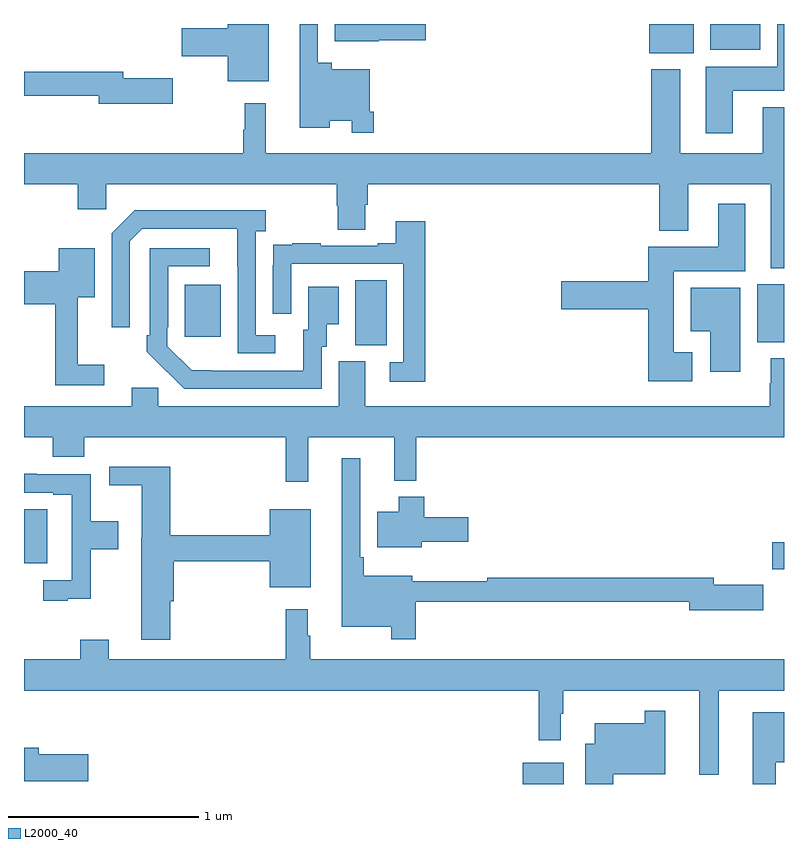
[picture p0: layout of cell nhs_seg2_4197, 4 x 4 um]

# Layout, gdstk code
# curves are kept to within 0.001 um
import gdstk
lib = gdstk.Library(unit=1e-6, precision=1e-09)
def R(c, l, rs):  # rectangles x0, y0, x1, y1
    for r in rs: c.add(gdstk.rectangle(r[:2], r[2:], *l))
def P(c, l, *ps):  # polygons
    for p in ps: c.add(gdstk.Polygon(p, *l))
L2000_40 = (2000, 40)

nhs_seg2_4197 = lib.new_cell('nhs_seg2_4197')
R(nhs_seg2_4197, L2000_40, [(339.626,657.8,339.841,657.913), (340.938,658.93,341,659.072), (337,658.961,337.123,659.245), (338.744,660.109,338.908,660.452), (340.859,660.125,341,660.43), (337.847,660.153,338.035,660.427), (340.292,661.646,340.525,661.8), (340.613,661.664,340.876,661.8)])
P(nhs_seg2_4197, L2000_40, [(338.84,661.339),(338.82,661.339),(338.82,661.561),(338.621,661.561),(338.621,661.597),(338.547,661.597),(338.547,661.8),(338.45,661.8),(338.45,661.253),(338.608,661.253),(338.608,661.292),(338.724,661.292),(338.724,661.227),(338.84,661.227)],
  [(340.729,661.448),(341,661.448),(341,661.8),(340.964,661.8),(340.964,661.576),(340.589,661.576),(340.589,661.224),(340.729,661.224)],
  [(338.868,661.715),(339.115,661.715),(339.115,661.8),(338.636,661.8),(338.636,661.709),(338.868,661.709)],
  [(338.287,661.8),(338.072,661.8),(338.072,661.778),(337.83,661.778),(337.83,661.631),(338.072,661.631),(338.072,661.499),(338.287,661.499)],
  [(341,661.363),(340.889,661.363),(340.889,661.12),(340.453,661.12),(340.453,661.561),(340.301,661.561),(340.301,661.12),(338.272,661.12),(338.272,661.384),(338.163,661.384),(338.163,661.244),(338.155,661.244),(338.155,661.12),(337,661.12),(337,660.956),(337.283,660.956),(337.283,660.825),(337.434,660.825),(337.434,660.956),(338.645,660.956),(338.645,660.843),(338.65,660.843),(338.65,660.718),(338.797,660.718),(338.797,660.85),(338.81,660.85),(338.81,660.956),(340.343,660.956),(340.343,660.713),(340.495,660.713),(340.495,660.956),(340.931,660.956),(340.931,660.515),(341,660.515)],
  [(337.783,661.514),(337.522,661.514),(337.522,661.55),(337,661.55),(337,661.422),(337.394,661.422),(337.394,661.379),(337.783,661.379)],
  [(340.516,660.073),(340.42,660.073),(340.42,660.5),(340.795,660.5),(340.795,660.853),(340.655,660.853),(340.655,660.628),(340.286,660.628),(340.286,660.446),(339.828,660.446),(339.828,660.299),(340.286,660.299),(340.286,659.921),(340.516,659.921)],
  [(338.323,660.162),(338.22,660.162),(338.22,660.71),(338.272,660.71),(338.272,660.82),(337.582,660.82),(337.461,660.699),(337.461,660.204),(337.557,660.204),(337.557,660.657),(337.623,660.723),(338.123,660.723),(338.124,660.066),(338.323,660.066)],
  [(339.113,660.763),(338.957,660.763),(338.957,660.646),(338.861,660.646),(338.861,660.633),(338.561,660.633),(338.561,660.646),(338.413,660.646),(338.413,660.639),(338.311,660.639),(338.311,660.53),(338.31,660.53),(338.31,660.276),(338.406,660.276),(338.406,660.537),(338.997,660.537),(338.997,660.021),(338.925,660.021),(338.925,659.916),(339.113,659.916)],
  [(338.568,660.102),(338.593,660.102),(338.593,660.221),(338.656,660.221),(338.656,660.418),(338.495,660.418),(338.495,660.192),(338.471,660.192),(338.471,659.976),(337.884,659.977),(337.755,660.105),(337.755,660.205),(337.758,660.205),(337.758,660.525),(337.978,660.525),(337.978,660.621),(337.662,660.621),(337.662,660.163),(337.647,660.163),(337.647,660.075),(337.844,659.88),(338.568,659.88)],
  [(337.423,660.007),(337.283,660.007),(337.283,660.362),(337.372,660.362),(337.372,660.619),(337.184,660.619),(337.184,660.498),(337,660.498),(337,660.326),(337.165,660.326),(337.165,659.898),(337.423,659.898)],
  [(340.771,660.412),(340.508,660.412),(340.508,660.182),(340.613,660.182),(340.613,659.97),(340.771,659.97)],
  [(338.495,659.624),(338.948,659.624),(338.948,659.396),(339.065,659.396),(339.065,659.624),(341,659.624),(341,660.04),(340.931,660.04),(340.931,659.909),(340.924,659.909),(340.924,659.788),(338.797,659.788),(338.797,660.024),(338.657,660.024),(338.657,659.788),(337.707,659.788),(337.707,659.886),(337.568,659.886),(337.568,659.788),(337,659.788),(337,659.624),(337.151,659.624),(337.151,659.522),(337.316,659.522),(337.316,659.624),(338.377,659.624),(338.377,659.391),(338.495,659.391)],
  [(339.062,658.758),(340.502,658.758),(340.502,658.715),(340.891,658.715),(340.891,658.85),(340.63,658.85),(340.63,658.886),(339.439,658.886),(339.439,658.868),(339.043,658.868),(339.043,658.897),(338.789,658.897),(338.789,658.993),(338.769,658.993),(338.769,659.515),(338.672,659.515),(338.672,658.628),(338.934,658.628),(338.934,658.563),(339.062,658.563)],
  [(337.769,658.761),(337.787,658.761),(337.787,658.972),(338.294,658.972),(338.294,658.835),(338.509,658.835),(338.509,659.245),(338.294,659.245),(338.294,659.108),(337.769,659.108),(337.769,659.47),(337.449,659.47),(337.449,659.372),(337.619,659.372),(337.619,659.097),(337.616,659.097),(337.616,658.56),(337.769,658.56)],
  [(337.229,658.775),(337.352,658.775),(337.352,659.035),(337.495,659.035),(337.495,659.182),(337.352,659.182),(337.352,659.43),(337.067,659.43),(337.067,659.432),(337,659.432),(337,659.334),(337.154,659.334),(337.154,659.322),(337.251,659.322),(337.251,658.872),(337.101,658.872),(337.101,658.764),(337.229,658.764)],
  [(339.094,659.075),(339.337,659.075),(339.337,659.205),(339.107,659.205),(339.107,659.311),(338.972,659.311),(338.972,659.233),(338.858,659.233),(338.858,659.045),(339.094,659.045)],
  [(340.657,658.292),(341,658.292),(341,658.456),(338.506,658.456),(338.506,658.58),(338.494,658.58),(338.494,658.72),(338.377,658.72),(338.377,658.456),(337.447,658.456),(337.447,658.558),(337.295,658.558),(337.295,658.456),(337,658.456),(337,658.292),(339.709,658.292),(339.709,658.029),(339.825,658.029),(339.825,658.169),(339.838,658.169),(339.838,658.292),(340.553,658.292),(340.553,657.848),(340.657,657.848)],
  [(340.101,657.851),(340.374,657.851),(340.374,658.186),(340.266,658.186),(340.266,658.12),(340.004,658.12),(340.004,658.012),(339.953,658.012),(339.953,657.8),(340.101,657.8)],
  [(340.957,657.914),(341,657.914),(341,658.177),(340.835,658.177),(340.835,657.8),(340.957,657.8)],
  [(337.339,657.957),(337.078,657.957),(337.078,657.991),(337,657.991),(337,657.815),(337.339,657.815)])

lib.write_gds('nhs_seg2_4197.gds')
